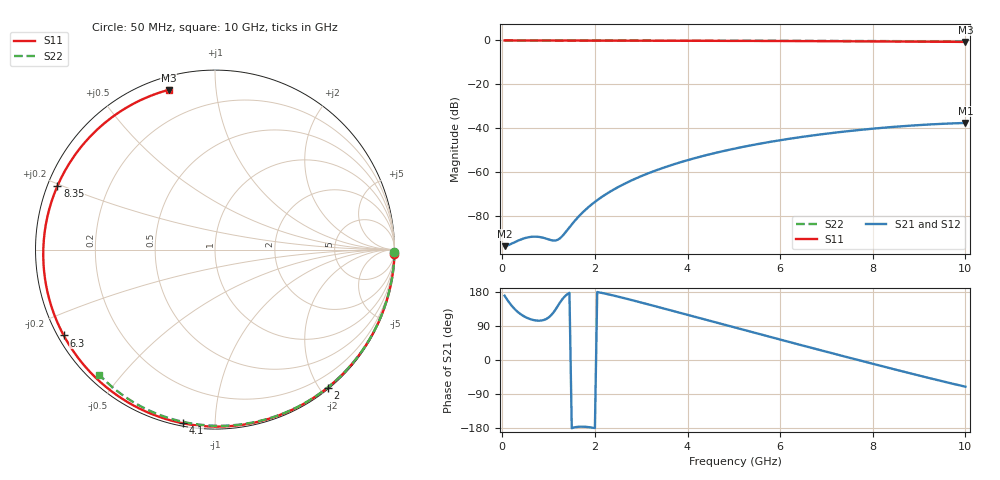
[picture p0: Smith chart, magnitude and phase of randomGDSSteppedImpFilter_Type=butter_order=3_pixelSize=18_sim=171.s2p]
! freq	dB(S11)	phase(S11)	dB(S12)	phase(S12)
!  dB(S21)	phase(S21)	dB(S22)	phase(S22)
!S-par simulation data
#  GHz  S  DB  R 50
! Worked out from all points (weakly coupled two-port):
!   200 points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, 50 MHz to 10 GHz, reference 50 ohm
!   highest |S21| = -37.53 dB at 10 GHz (marker M1); lowest = -93.6 dB at 50 MHz (marker M2)
!   lowest |S11| = -0.7 dB at 10 GHz (marker M3), VSWR 26.25, Z = 2.98 + j37.5 ohm
!   |S11| at or under -10 dB: nowhere
!   |S22| runs from -0.4 to 0.0 dB; largest |S21 - S12| = 0
!   S11 on the Smith chart (normalised r, x): 50 MHz: 0, -88; 2 GHz: 0.02, -2.10; 4.1 GHz: 0.01, -0.83; 6.3 GHz: 0.02, -0.26; 8.35 GHz: 0.03, +0.19; 10 GHz: 0.06, +0.75
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0.05  -0.00 -1.3  -93.60 169.7  -93.60 169.7  -0.00 -0.8
0.8  -0.02 -20.7  -89.42 103.8  -89.42 103.8  -0.01 -12.2
1.65  -0.05 -42.2  -80.08 -176.2  -80.08 -176.2  -0.03 -25.1
1.75  -0.06 -44.6  -77.95 -176.0  -77.95 -176.0  -0.03 -26.5
2  -0.06 -50.8  -73.45 -179.5  -73.45 -179.5  -0.04 -30.3
2.3  -0.07 -58.2  -69.15 173.0  -69.15 173.0  -0.04 -34.7
2.6  -0.08 -65.4  -65.63 164.2  -65.63 164.2  -0.05 -39.1
3  -0.10 -74.9  -61.74 151.7  -61.74 151.7  -0.06 -44.8
3.4  -0.11 -84.3  -58.50 138.8  -58.50 138.8  -0.07 -50.5
4.1  -0.14 -100.5  -53.88 115.9  -53.88 115.9  -0.08 -60.3
4.55  -0.16 -110.7  -51.43 101.2  -51.43 101.2  -0.10 -66.4
5.05  -0.19 -122.0  -49.06 84.8  -49.06 84.8  -0.11 -73.1
5.7  -0.23 -136.6  -46.45 63.6  -46.45 63.6  -0.14 -81.5
6.3  -0.27 -150.4  -44.41 44.2  -44.41 44.2  -0.16 -89.1
6.7  -0.31 -159.8  -43.23 31.3  -43.23 31.3  -0.18 -94.1
7.55  -0.39 179.3  -41.08 4.2  -41.08 4.2  -0.23 -104.4
7.95  -0.43 168.9  -40.24 -8.4  -40.24 -8.4  -0.26 -109.2
8.35  -0.47 158.0  -39.49 -21.0  -39.49 -21.0  -0.29 -113.9
8.75  -0.52 146.5  -38.85 -33.4  -38.85 -33.4  -0.32 -118.5
9.15  -0.57 134.3  -38.31 -45.6  -38.31 -45.6  -0.36 -123.1
9.6  -0.62 119.8  -37.84 -59.0  -37.84 -59.0  -0.40 -128.3
10  -0.66 106.1  -37.53 -70.4  -37.53 -70.4  -0.45 -132.9
